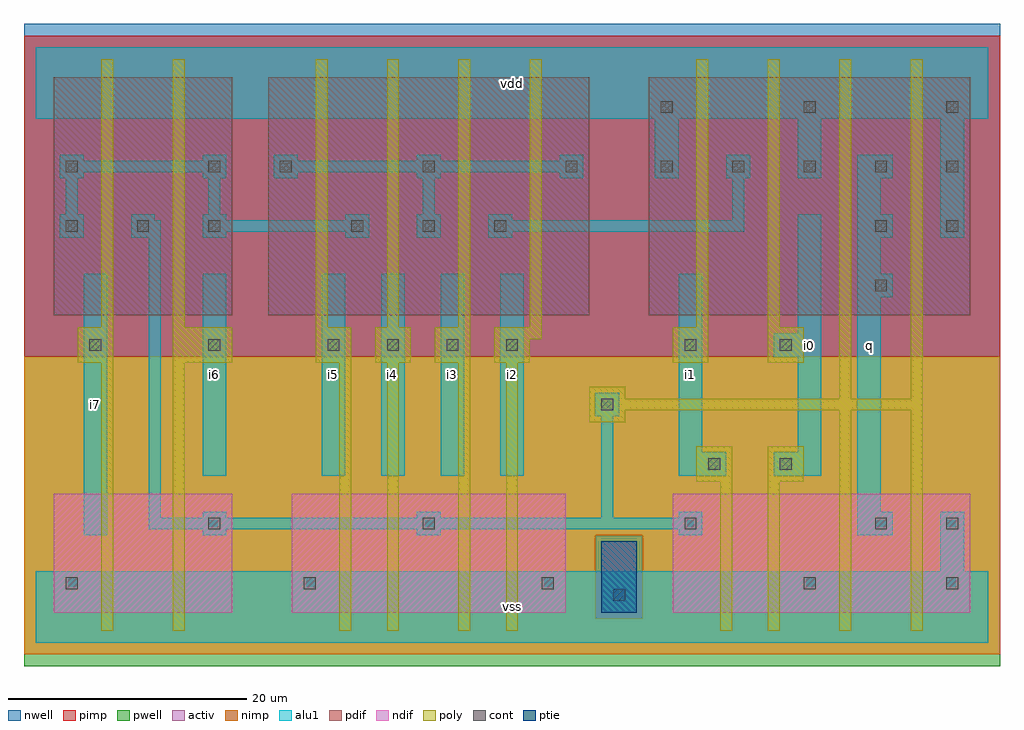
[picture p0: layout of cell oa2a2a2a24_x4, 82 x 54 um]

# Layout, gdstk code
import gdstk
lib = gdstk.Library(unit=1e-6, precision=1e-09)
def R(c, l, rs):  # rectangles x0, y0, x1, y1
    for r in rs: c.add(gdstk.rectangle(r[:2], r[2:], *l))
def A(c, l, x, y, w, h, nx, ny, dx, dy):  # array of equal rectangles
    R(c, l, [(x+i*dx, y+j*dy, x+i*dx+w, y+j*dy+h) for i in range(nx) for j in range(ny)])
ndif = (3, 0)
pdif = (4, 0)
ptie = (6, 0)
cont = (25, 0)
pwell = (41, 0)
nwell = (42, 0)
activ = (43, 0)
pimp = (44, 0)
nimp = (45, 0)
poly = (46, 0)
alu1 = (49, 0)

oa2a2a2a24_x4 = lib.new_cell('oa2a2a2a24_x4')
R(oa2a2a2a24_x4, ndif, [(1.5,2.5,16.5,12.5), (21.5,2.5,44.5,12.5), (53.5,2.5,78.5,12.5)])
R(oa2a2a2a24_x4, pdif, [(1.5,27.5,16.5,47.5), (19.5,27.5,46.5,47.5), (51.5,27.5,78.5,47.5)])
R(oa2a2a2a24_x4, ptie, [(47.5,2.5,50.5,8.5)])
A(oa2a2a2a24_x4, cont, 2.5, 4.5, 1, 1, 3, 1, 20, 0)
A(oa2a2a2a24_x4, cont, 4.5, 24.5, 1, 1, 3, 1, 10, 0)
A(oa2a2a2a24_x4, cont, 29.5, 24.5, 1, 1, 3, 1, 5, 0)
A(oa2a2a2a24_x4, cont, 2.5, 34.5, 1, 1, 3, 1, 6, 0)
A(oa2a2a2a24_x4, cont, 26.5, 34.5, 1, 1, 3, 1, 6, 0)
A(oa2a2a2a24_x4, cont, 20.5, 39.5, 1, 1, 3, 1, 12, 0)
A(oa2a2a2a24_x4, cont, 52.5, 39.5, 1, 1, 5, 1, 6, 0)
A(oa2a2a2a24_x4, cont, 52.5, 44.5, 1, 1, 3, 1, 12, 0)
R(oa2a2a2a24_x4, cont, [(48.5,3.5,49.5,4.5), (64.5,4.5,65.5,5.5), (76.5,4.5,77.5,5.5), (14.5,9.5,15.5,10.5), (32.5,9.5,33.5,10.5), (54.5,9.5,55.5,10.5), (70.5,9.5,71.5,10.5), (76.5,9.5,77.5,10.5), (56.5,14.5,57.5,15.5), (62.5,14.5,63.5,15.5), (47.5,19.5,48.5,20.5), (54.5,24.5,55.5,25.5), (62.5,24.5,63.5,25.5), (70.5,29.5,71.5,30.5), (70.5,34.5,71.5,35.5), (76.5,34.5,77.5,35.5), (2.5,39.5,3.5,40.5), (14.5,39.5,15.5,40.5)])
R(oa2a2a2a24_x4, pwell, [(-1,-2,81,24)])
R(oa2a2a2a24_x4, nwell, [(-1,24,81,52)])
R(oa2a2a2a24_x4, activ, [(1.5,2.5,16.5,12.5), (21.5,2.5,44.5,12.5), (47.5,2.5,50.5,8.5), (53.5,2.5,78.5,12.5), (1.5,27.5,16.5,47.5), (19.5,27.5,46.5,47.5), (51.5,27.5,78.5,47.5)])
R(oa2a2a2a24_x4, pimp, [(47,2,51,9), (-1,24,81,51)])
R(oa2a2a2a24_x4, nimp, [(-1,-1,81,2), (-1,2,47,9), (51,2,81,9), (-1,9,81,24)])
A(oa2a2a2a24_x4, poly, 23.5, 23.5, 3, 3, 3, 1, 5, 0)
A(oa2a2a2a24_x4, poly, 23.5, 26.5, 1, 22.5, 4, 1, 6, 0)
R(oa2a2a2a24_x4, poly, [(5.5,1,6.5,23.5), (11.5,1,12.5,23.5), (25.5,1,26.5,23.5), (29.5,1,30.5,23.5), (35.5,1,36.5,23.5), (39.5,1,40.5,23.5), (57.5,1,58.5,13.5), (61.5,1,62.5,13.5), (67.5,1,68.5,19.5), (73.5,1,74.5,19.5), (55.5,13.5,58.5,16.5), (61.5,13.5,64.5,16.5), (46.5,18.5,49.5,19.5), (46.5,19.5,74.5,20.5), (46.5,20.5,49.5,21.5), (67.5,20.5,68.5,49), (73.5,20.5,74.5,49), (3.5,23.5,6.5,26.5), (11.5,23.5,16.5,26.5), (38.5,23.5,41.5,25.5), (53.5,23.5,56.5,26.5), (61.5,23.5,64.5,26.5), (38.5,25.5,42.5,26.5), (5.5,26.5,6.5,49), (11.5,26.5,12.5,49), (55.5,26.5,56.5,49), (61.5,26.5,62.5,49)])
A(oa2a2a2a24_x4, alu1, 24, 14, 2, 17, 4, 1, 5, 0)
A(oa2a2a2a24_x4, alu1, 69, 29, 3, 2, 1, 3, 0, 5)
A(oa2a2a2a24_x4, alu1, 14, 34, 2, 0.5, 3, 2, 12, 1.5)
A(oa2a2a2a24_x4, alu1, 20, 39, 2, 0.5, 3, 2, 12, 1.5)
R(oa2a2a2a24_x4, alu1, [(0,0,80,6), (76,6,78,11), (4,9,6,31), (14,9,16,9.5), (32,9,34,9.5), (54,9,56,9.5), (69,9,72,11), (9.5,9.5,56,10.5), (9.5,10.5,10.5,34), (14,10.5,16,11), (32,10.5,34,11), (47.5,10.5,48.5,19), (54,10.5,56,11), (69,11,71,29), (14,14,16,31), (54,14,58,16), (62,14,66,16), (54,16,56,31), (64,16,66,24), (47,19,49,21), (62,24,66,26), (64,26,66,36), (69,31,71,34), (2,34,4,36), (8,34,10.5,35.5), (32,34,34,36), (76,34,78,44), (14,34.5,28,35.5), (38,34.5,59.5,35.5), (8,35.5,10,36), (58.5,35.5,59.5,39), (2.5,36,3.5,39), (14.5,36,15.5,39), (32.5,36,33.5,39), (69,36,71,39), (2,39,4,39.5), (14,39,16,39.5), (52,39,54,44), (58,39,60,41), (64,39,66,44), (2,39.5,16,40.5), (20,39.5,46,40.5), (2,40.5,4,41), (14,40.5,16,41), (0,44,80,50)])
oa2a2a2a24_x4.add(gdstk.Label('i7', (5,20), layer=49, texttype=0))
oa2a2a2a24_x4.add(gdstk.Label('i5', (25,22.5), layer=49, texttype=0))
oa2a2a2a24_x4.add(gdstk.Label('i6', (15,22.5), layer=49, texttype=0))
oa2a2a2a24_x4.add(gdstk.Label('vss', (40,3), layer=49, texttype=0))
oa2a2a2a24_x4.add(gdstk.Label('i2', (40,22.5), layer=49, texttype=0))
oa2a2a2a24_x4.add(gdstk.Label('i3', (35,22.5), layer=49, texttype=0))
oa2a2a2a24_x4.add(gdstk.Label('i4', (30,22.5), layer=49, texttype=0))
oa2a2a2a24_x4.add(gdstk.Label('vdd', (40,47), layer=49, texttype=0))
oa2a2a2a24_x4.add(gdstk.Label('i1', (55,22.5), layer=49, texttype=0))
oa2a2a2a24_x4.add(gdstk.Label('i0', (65,25), layer=49, texttype=0))
oa2a2a2a24_x4.add(gdstk.Label('q', (70,25), layer=49, texttype=0))

lib.write_gds('oa2a2a2a24_x4.gds')
